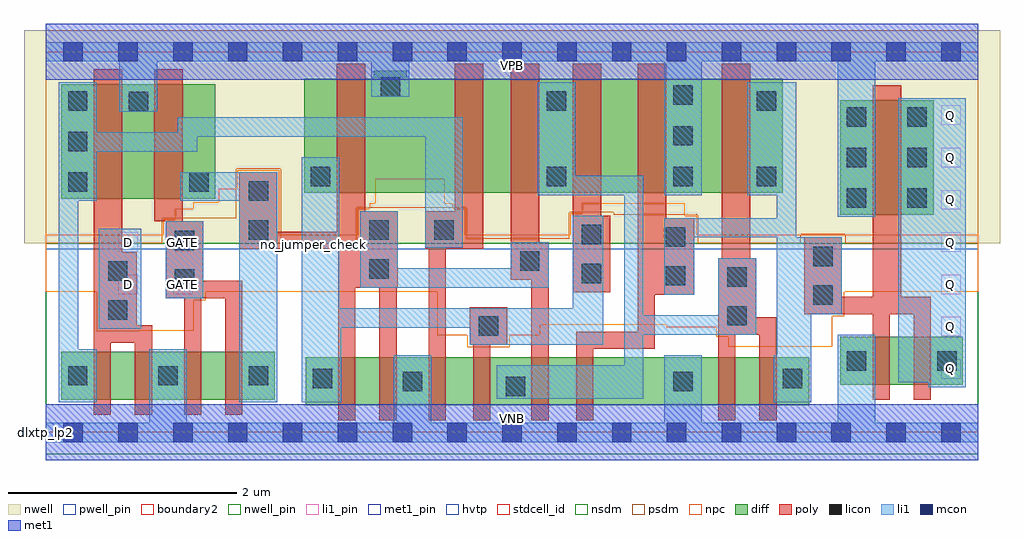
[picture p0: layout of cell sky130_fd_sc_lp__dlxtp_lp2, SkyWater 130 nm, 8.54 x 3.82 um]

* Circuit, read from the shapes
.subckt sky130_fd_sc_lp__dlxtp_lp2 D GATE Q VGND VNB VPB VPWR
XM1 n1 D n2 VNB sky130_fd_pr__nfet_01v8 w=0.42 l=0.15
XM2 VGND D n1 VNB sky130_fd_pr__nfet_01v8 w=0.42 l=0.15
XM3 n3 GATE VGND VNB sky130_fd_pr__nfet_01v8 w=0.42 l=0.15
XM4 n4 GATE n3 VNB sky130_fd_pr__nfet_01v8 w=0.42 l=0.15
XM5 n5 n4 n6 VNB sky130_fd_pr__nfet_01v8 w=0.42 l=0.15
XM6 VGND n4 n5 VNB sky130_fd_pr__nfet_01v8 w=0.42 l=0.15
XM7 n7 n2 VGND VNB sky130_fd_pr__nfet_01v8 w=0.42 l=0.15
XM8 n8 n6 n7 VNB sky130_fd_pr__nfet_01v8 w=0.42 l=0.15
XM9 n9 n4 n8 VNB sky130_fd_pr__nfet_01v8 w=0.42 l=0.15
XM10 VGND n10 n9 VNB sky130_fd_pr__nfet_01v8 w=0.42 l=0.15
XM11 n11 n8 VGND VNB sky130_fd_pr__nfet_01v8 w=0.42 l=0.15
XM12 n10 n8 n11 VNB sky130_fd_pr__nfet_01v8 w=0.42 l=0.15
XM13 n12 n10 VGND VNB sky130_fd_pr__nfet_01v8 w=0.42 l=0.15
XM14 Q n10 n12 VNB sky130_fd_pr__nfet_01v8 w=0.42 l=0.15
XM15 VPWR D n2 VPB sky130_fd_pr__pfet_01v8_hvt w=1 l=0.25
XM16 n4 GATE VPWR VPB sky130_fd_pr__pfet_01v8_hvt w=1 l=0.25
XM17 VPWR n4 n6 VPB sky130_fd_pr__pfet_01v8_hvt w=1 l=0.25
XM18 n13 n2 VPWR VPB sky130_fd_pr__pfet_01v8_hvt w=1 l=0.25
XM19 n8 n4 n13 VPB sky130_fd_pr__pfet_01v8_hvt w=1 l=0.25
XM20 n14 n6 n8 VPB sky130_fd_pr__pfet_01v8_hvt w=1 l=0.25
XM21 VPWR n10 n14 VPB sky130_fd_pr__pfet_01v8_hvt w=1 l=0.25
XM22 n10 n8 VPWR VPB sky130_fd_pr__pfet_01v8_hvt w=1 l=0.25
XM23 Q n10 VPWR VPB sky130_fd_pr__pfet_01v8_hvt w=1 l=0.25
.ends

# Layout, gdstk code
import gdstk
lib = gdstk.Library(unit=1e-6, precision=1e-09)
def R(c, l, rs):  # rectangles x0, y0, x1, y1
    for r in rs: c.add(gdstk.rectangle(r[:2], r[2:], *l))
def A(c, l, x, y, w, h, nx, ny, dx, dy):  # array of equal rectangles
    R(c, l, [(x+i*dx, y+j*dy, x+i*dx+w, y+j*dy+h) for i in range(nx) for j in range(ny)])
def P(c, l, *ps):  # polygons
    for p in ps: c.add(gdstk.Polygon(p, *l))
nwell_pin = (64, 16)
nwell = (64, 20)
diff = (65, 20)
poly = (66, 20)
licon = (66, 44)
li1_pin = (67, 16)
li1 = (67, 20)
mcon = (67, 44)
met1_pin = (68, 16)
met1 = (68, 20)
hvtp = (78, 44)
stdcell_id = (81, 4)
nsdm = (93, 44)
psdm = (94, 20)
npc = (95, 20)
pwell_pin = (122, 16)
boundary2 = (236, 0)

sky130_fd_sc_lp__dlxtp_l = lib.new_cell('sky130_fd_sc_lp__dlxtp_lp2')
R(sky130_fd_sc_lp__dlxtp_l, nwell_pin, [(0,3.085,8.16,3.33)])
R(sky130_fd_sc_lp__dlxtp_l, nwell, [(-0.19,1.655,8.35,3.52)])
R(sky130_fd_sc_lp__dlxtp_l, diff, [(2.275,0.235,6.68,0.655), (0.135,0.285,2.005,0.705), (6.95,0.415,8.025,0.835), (6.95,1.905,7.77,2.905), (0.135,2.045,1.485,3.045)])
P(sky130_fd_sc_lp__dlxtp_l, diff, [(6.45,3.095),(3.16,3.095),(3.16,3.165),(2.87,3.165),(2.87,3.095),(2.26,3.095),(2.26,2.095),(6.45,2.095)])
P(sky130_fd_sc_lp__dlxtp_l, poly, [(0.93,0.935),(0.795,0.935),(0.795,1.575),(0.67,1.575),(0.67,3.175),(0.42,3.175),(0.42,0.155),(0.57,0.155),(0.57,0.785),(0.78,0.785),(0.78,0.155),(0.93,0.155)],
  [(1.72,1.325),(1.38,1.325),(1.38,1.845),(1.2,1.845),(1.2,3.175),(0.95,3.175),(0.95,1.845),(1.05,1.845),(1.05,1.175),(1.21,1.175),(1.21,0.155),(1.36,0.155),(1.36,1.175),(1.57,1.175),(1.57,0.155),(1.72,0.155)],
  [(3.08,1.935),(2.795,1.935),(2.795,3.225),(2.545,3.225),(2.545,1.755),(2.025,1.755),(2.025,2.275),(1.695,2.275),(1.695,1.605),(2.56,1.605),(2.56,0.105),(2.71,0.105),(2.71,1.265),(2.92,1.265),(2.92,0.105),(3.07,0.105),(3.07,1.265),(3.08,1.265)],
  [(3.83,3.225),(3.58,3.225),(3.58,1.935),(3.32,1.935),(3.32,1.605),(3.35,1.605),(3.35,0.105),(3.5,0.105),(3.5,1.605),(3.83,1.605)],
  [(4.04,1.095),(3.71,1.095),(3.71,0.765),(3.74,0.765),(3.74,0.105),(3.89,0.105),(3.89,0.765),(4.04,0.765)],
  [(4.4,1.665),(4.32,1.665),(4.32,3.225),(4.07,3.225),(4.07,1.335),(4.25,1.335),(4.25,0.105),(4.4,0.105)],
  [(4.94,1.895),(4.86,1.895),(4.86,3.225),(4.61,3.225),(4.61,1.225),(4.94,1.225)],
  [(5.675,1.875),(5.43,1.875),(5.43,3.225),(5.18,3.225),(5.18,0.88),(4.64,0.88),(4.64,0.105),(4.79,0.105),(4.79,0.73),(5.33,0.73),(5.33,1.205),(5.675,1.205)],
  [(6.395,1.005),(6.215,1.005),(6.215,1.525),(6.165,1.525),(6.165,3.225),(5.915,3.225),(5.915,1.525),(5.885,1.525),(5.885,0.105),(6.035,0.105),(6.035,0.855),(6.245,0.855),(6.245,0.105),(6.395,0.105)],
  [(7.745,1.185),(7.485,1.185),(7.485,3.035),(7.235,3.035),(7.235,1.185),(6.965,1.185),(6.965,1.705),(6.635,1.705),(6.635,1.035),(7.235,1.035),(7.235,0.285),(7.385,0.285),(7.385,1.035),(7.595,1.035),(7.595,0.285),(7.745,0.285)])
A(sky130_fd_sc_lp__dlxtp_l, licon, 0.195, 0.41, 0.17, 0.17, 3, 1, 0.79, 0)
A(sky130_fd_sc_lp__dlxtp_l, licon, 7.01, 1.965, 0.17, 0.17, 1, 3, 0, 0.355)
A(sky130_fd_sc_lp__dlxtp_l, licon, 7.54, 1.965, 0.17, 0.17, 1, 3, 0, 0.355)
A(sky130_fd_sc_lp__dlxtp_l, licon, 0.195, 2.105, 0.17, 0.17, 1, 3, 0, 0.355)
A(sky130_fd_sc_lp__dlxtp_l, licon, 5.49, 2.155, 0.17, 0.17, 1, 3, 0, 0.355)
R(sky130_fd_sc_lp__dlxtp_l, licon, [(4.025,0.315,4.195,0.485), (3.125,0.36,3.295,0.53), (5.49,0.36,5.66,0.53), (2.335,0.385,2.505,0.555), (6.45,0.385,6.62,0.555), (7.01,0.54,7.18,0.71), (7.8,0.54,7.97,0.71), (3.79,0.845,3.96,1.015), (5.965,0.935,6.135,1.105), (0.545,0.985,0.715,1.155), (6.715,1.115,6.885,1.285), (1.13,1.255,1.3,1.425), (5.965,1.275,6.135,1.445), (5.425,1.285,5.595,1.455), (4.69,1.305,4.86,1.475), (0.545,1.325,0.715,1.495), (2.83,1.345,3,1.515), (4.15,1.415,4.32,1.585), (6.715,1.455,6.885,1.625), (1.13,1.595,1.3,1.765), (5.425,1.625,5.595,1.795), (4.69,1.645,4.86,1.815), (1.775,1.685,1.945,1.855), (2.83,1.685,3,1.855), (3.4,1.685,3.57,1.855), (1.775,2.025,1.945,2.195), (1.255,2.105,1.425,2.275), (2.32,2.155,2.49,2.325), (4.385,2.155,4.555,2.325), (6.22,2.155,6.39,2.325), (0.725,2.81,0.895,2.98), (4.385,2.815,4.555,2.985), (6.22,2.815,6.39,2.985), (2.93,2.935,3.1,3.105)])
A(sky130_fd_sc_lp__dlxtp_l, li1_pin, 7.835, 0.47, 0.17, 0.17, 1, 7, 0, 0.37)
R(sky130_fd_sc_lp__dlxtp_l, li1_pin, [(0.635,1.21,0.805,1.38), (1.115,1.21,1.285,1.38), (0.635,1.58,0.805,1.75), (1.115,1.58,1.285,1.75)])
R(sky130_fd_sc_lp__dlxtp_l, li1, [(0.465,0.905,0.835,1.78), (1.05,1.175,1.38,1.845)])
P(sky130_fd_sc_lp__dlxtp_l, li1, [(6.93,1.885),(6.93,3.245),(5.74,3.245),(5.74,2.075),(5.41,2.075),(5.41,3.245),(3.18,3.245),(3.18,2.935),(2.85,2.935),(2.85,3.245),(0.975,3.245),(0.975,2.805),(0.645,2.805),(0.645,3.245),(0,3.245),(0,3.415),(8.16,3.415),(8.16,3.245),(7.26,3.245),(7.26,1.885)],
  [(0.905,0.085),(0.905,0.725),(1.235,0.725),(1.235,0.085),(3.045,0.085),(3.045,0.675),(3.375,0.675),(3.375,0.085),(5.41,0.085),(5.41,0.675),(5.74,0.675),(5.74,0.085),(6.93,0.085),(6.93,0.855),(7.26,0.855),(7.26,0.085),(8.16,0.085),(8.16,-0.085),(0,-0.085),(0,0.085)],
  [(1.155,2.625),(1.155,2.755),(3.65,2.755),(3.65,1.615),(3.32,1.615),(3.32,2.585),(1.325,2.585),(1.325,2.455),(0.445,2.455),(0.445,2.025),(0.285,2.025),(0.285,0.725),(0.445,0.725),(0.445,0.265),(0.115,0.265),(0.115,3.065),(0.445,3.065),(0.445,2.625)],
  [(5.06,2.075),(4.305,2.075),(4.305,3.065),(4.635,3.065),(4.635,2.245),(5.23,2.245),(5.23,1.025),(5.885,1.025),(5.885,1.525),(6.215,1.525),(6.215,0.855),(5.23,0.855),(5.23,0.295),(3.945,0.295),(3.945,0.585),(5.06,0.585)],
  [(1.695,0.265),(1.695,2.025),(1.175,2.025),(1.175,2.275),(2.025,2.275),(2.025,0.265)],
  [(2.75,1.265),(2.75,1.935),(3.08,1.935),(3.08,1.435),(4.07,1.435),(4.07,1.665),(4.4,1.665),(4.4,1.265)],
  [(2.24,0.265),(2.24,2.405),(2.57,2.405),(2.57,1.085),(4.61,1.085),(4.61,1.895),(4.88,1.895),(4.88,0.765),(3.71,0.765),(3.71,0.915),(2.585,0.915),(2.585,0.265)],
  [(6.565,1.705),(6.965,1.705),(6.965,1.035),(6.7,1.035),(6.7,0.265),(6.37,0.265),(6.37,0.675),(6.395,0.675),(6.395,1.705),(5.675,1.705),(5.675,1.205),(5.41,1.205),(5.41,1.875),(6.395,1.875),(6.395,2.075),(6.14,2.075),(6.14,3.065),(6.565,3.065)],
  [(7.46,0.44),(7.46,2.925),(8.05,2.925),(8.05,0.395),(7.72,0.395),(7.72,0.44)])
A(sky130_fd_sc_lp__dlxtp_l, mcon, 0.155, -0.085, 0.17, 0.17, 17, 2, 0.48, 3.33)
R(sky130_fd_sc_lp__dlxtp_l, met1_pin, [(0,0,8.16,0.245), (0,3.085,8.16,3.33)])
R(sky130_fd_sc_lp__dlxtp_l, met1, [(0,-0.245,8.16,0.245), (0,3.085,8.16,3.575)])
R(sky130_fd_sc_lp__dlxtp_l, hvtp, [(0,1.6,8.16,3.33)])
R(sky130_fd_sc_lp__dlxtp_l, stdcell_id, [(0,0,8.16,3.33)])
R(sky130_fd_sc_lp__dlxtp_l, nsdm, [(0,-0.19,8.16,1.655)])
P(sky130_fd_sc_lp__dlxtp_l, psdm, [(8.16,3.52),(0,3.52),(0,1.655),(1.02,1.655),(1.02,1.875),(1.665,1.875),(1.665,2.305),(2.055,2.305),(2.055,1.655),(2.72,1.655),(2.72,1.965),(3.68,1.965),(3.68,1.695),(4.58,1.695),(4.58,1.925),(4.97,1.925),(4.97,1.905),(5.705,1.905),(5.705,1.655),(6.605,1.655),(6.605,1.735),(6.995,1.735),(6.995,1.655),(8.16,1.655)])
P(sky130_fd_sc_lp__dlxtp_l, npc, [(8.16,1.73),(5.695,1.73),(5.695,1.895),(5.59,1.895),(5.59,2.005),(4.695,2.005),(4.695,1.915),(4.59,1.915),(4.59,1.73),(3.67,1.73),(3.67,1.955),(3.565,1.955),(3.565,2.005),(3.49,2.005),(3.49,2.22),(2.885,2.22),(2.885,2.005),(2.835,2.005),(2.835,1.955),(2.73,1.955),(2.73,1.73),(2.045,1.73),(2.045,2.295),(1.675,2.295),(1.675,2.13),(1.515,2.13),(1.515,2.015),(1.29,2.015),(1.29,1.955),(1.135,1.955),(1.135,1.865),(1.03,1.865),(1.03,1.73),(0,1.73),(0,1.23),(0.445,1.23),(0.445,0.885),(0.815,0.885),(0.815,0.89),(1.295,0.89),(1.295,1.155),(1.4,1.155),(1.4,1.23),(3.425,1.23),(3.425,0.85),(3.69,0.85),(3.69,0.745),(4.06,0.745),(4.06,0.85),(4.325,0.85),(4.325,0.94),(5.43,0.94),(5.43,0.92),(5.865,0.92),(5.865,0.835),(5.97,0.835),(5.97,0.75),(6.88,0.75),(6.88,1.015),(6.985,1.015),(6.985,1.23),(8.16,1.23)])
R(sky130_fd_sc_lp__dlxtp_l, pwell_pin, [(0,0,8.16,0.245)])
R(sky130_fd_sc_lp__dlxtp_l, boundary2, [(0,0,8.16,3.33)])
sky130_fd_sc_lp__dlxtp_l.add(gdstk.Label('VNB', (4.08,0.123), layer=64, texttype=59))
sky130_fd_sc_lp__dlxtp_l.add(gdstk.Label('VPB', (4.08,3.208), layer=64, texttype=5))
sky130_fd_sc_lp__dlxtp_l.add(gdstk.Label('dlxtp_lp2', (0,0), layer=83, texttype=44))
sky130_fd_sc_lp__dlxtp_l.add(gdstk.Label('no_jumper_check', (2.345,1.645), layer=83, texttype=44))
sky130_fd_sc_lp__dlxtp_l.add(gdstk.Label('VPWR', (4.08,3.208), layer=68, texttype=5))
sky130_fd_sc_lp__dlxtp_l.add(gdstk.Label('VGND', (4.08,0.123), layer=68, texttype=5))
sky130_fd_sc_lp__dlxtp_l.add(gdstk.Label('GATE', (1.2,1.295), layer=67, texttype=5))
sky130_fd_sc_lp__dlxtp_l.add(gdstk.Label('GATE', (1.2,1.665), layer=67, texttype=5))
sky130_fd_sc_lp__dlxtp_l.add(gdstk.Label('D', (0.72,1.295), layer=67, texttype=5))
sky130_fd_sc_lp__dlxtp_l.add(gdstk.Label('D', (0.72,1.665), layer=67, texttype=5))
sky130_fd_sc_lp__dlxtp_l.add(gdstk.Label('Q', (7.92,0.555), layer=67, texttype=5))
sky130_fd_sc_lp__dlxtp_l.add(gdstk.Label('Q', (7.92,0.925), layer=67, texttype=5))
sky130_fd_sc_lp__dlxtp_l.add(gdstk.Label('Q', (7.92,1.295), layer=67, texttype=5))
sky130_fd_sc_lp__dlxtp_l.add(gdstk.Label('Q', (7.92,1.665), layer=67, texttype=5))
sky130_fd_sc_lp__dlxtp_l.add(gdstk.Label('Q', (7.92,2.035), layer=67, texttype=5))
sky130_fd_sc_lp__dlxtp_l.add(gdstk.Label('Q', (7.92,2.405), layer=67, texttype=5))
sky130_fd_sc_lp__dlxtp_l.add(gdstk.Label('Q', (7.92,2.775), layer=67, texttype=5))

lib.write_gds('sky130_fd_sc_lp__dlxtp_lp2.gds')
